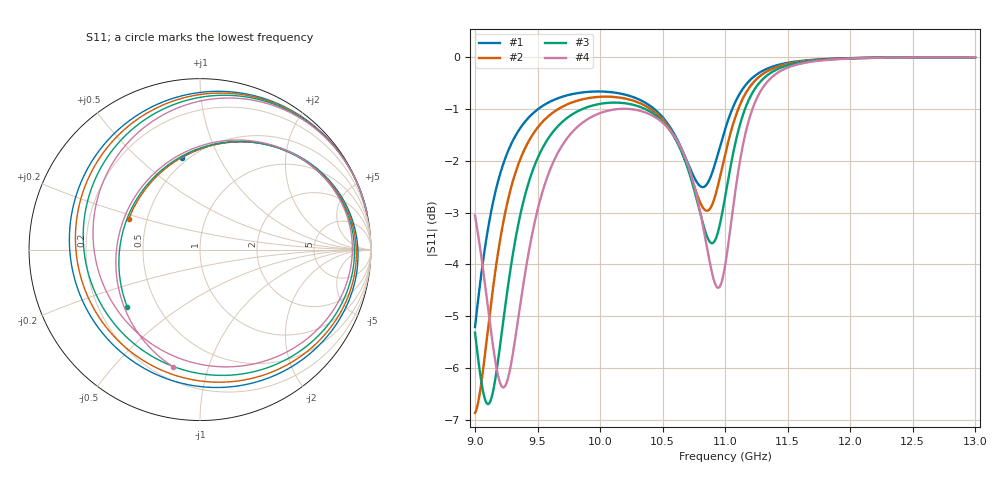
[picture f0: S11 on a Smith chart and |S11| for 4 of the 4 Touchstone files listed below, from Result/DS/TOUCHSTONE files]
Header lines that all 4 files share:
! TOUCHSTONE file generated by CST DESIGN STUDIO
! Project name: C:\Work\MatlabApps\UnitCellOptimizationMatlab\CST\unitcell.cst
! Tree item: Tasks\Sweep1\SPara1\S-Parameters
! Header version: 2024
! Port assignment regex: !\s*Touchstone port\s*([0-9]+)\s*=\s*(CST MWS port|CST DES external port|CST DES block port)\s*(.+)\s* \(\"(.*)\"\)(\s*mode\s*([0-9]+))?.*
! Touchstone port assignment:
! Touchstone port 1 = CST DES external port 1 ("")
# GHz S MA R 50
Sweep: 9 GHz to 13 GHz
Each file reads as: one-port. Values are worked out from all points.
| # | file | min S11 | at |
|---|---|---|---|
| 1 | DS_for_MWS-run-0001.s1p | -5.2 dB | 9 GHz |
| 2 | DS_for_MWS-run-0002.s1p | -6.9 dB | 9 GHz |
| 3 | DS_for_MWS-run-0003.s1p | -6.7 dB | 9.104 GHz |
| 4 | DS_for_MWS-run-0004.s1p | -6.4 dB | 9.226 GHz |
